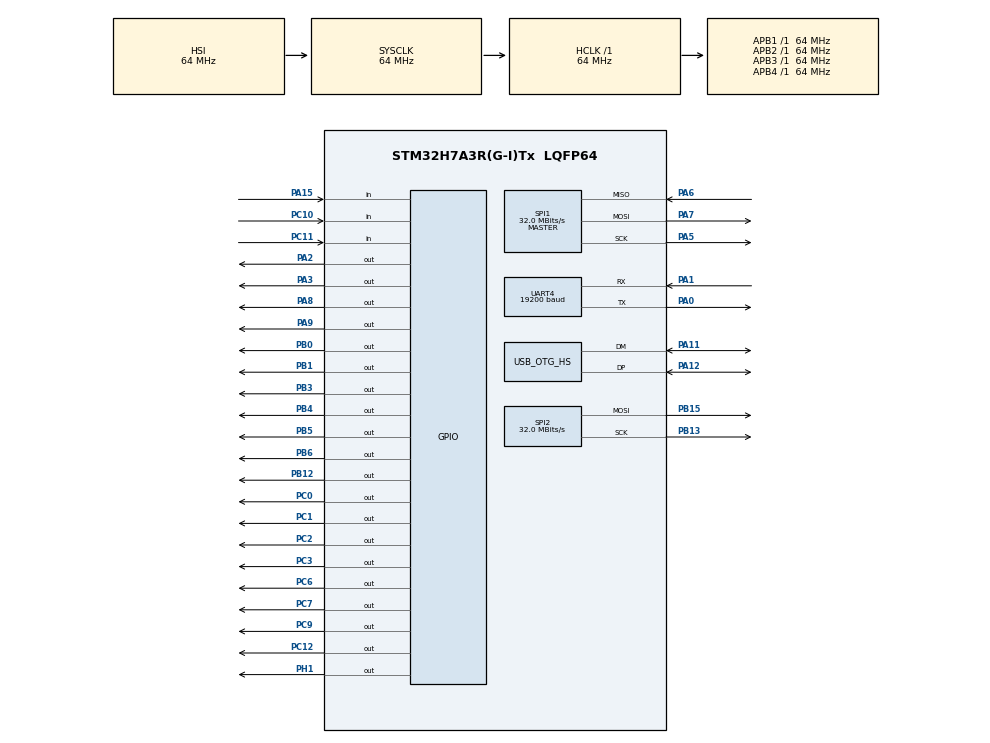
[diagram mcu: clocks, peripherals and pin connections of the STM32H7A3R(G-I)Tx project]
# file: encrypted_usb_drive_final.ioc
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CORTEX_M7.default_mode_Activation=1
Mcu.Family=STM32H7
Mcu.Name=STM32H7A3R(G-I)Tx
Mcu.Package=LQFP64
NVIC.OTG_HS_IRQn=true\:0\:0\:false\:false\:true\:false\:true\:true
NVIC.PriorityGroup=NVIC_PRIORITYGROUP_4
NVIC.TIM7_IRQn=true\:0\:0\:false\:false\:true\:true\:true\:true
PA0.Mode=Asynchronous
PA0.Signal=UART4_TX
PA1.Mode=Asynchronous
PA1.Signal=UART4_RX
PA11.Mode=Device_Only_FS
PA11.Signal=USB_OTG_HS_DM
PA12.Mode=Device_Only_FS
PA12.Signal=USB_OTG_HS_DP
PA13.Mode=Serial_Wire
PA13.Signal=DEBUG_JTMS-SWDIO
PA14.Mode=Serial_Wire
PA14.Signal=DEBUG_JTCK-SWCLK
PA15.GPIO_PuPd=GPIO_PULLDOWN
PA15.Signal=GPIO_Input
PA2.Signal=GPIO_Output
PA3.Signal=GPIO_Output
PA5.Mode=Full_Duplex_Master
PA5.Signal=SPI1_SCK
PA6.Mode=Full_Duplex_Master
PA6.Signal=SPI1_MISO
PA7.Mode=Full_Duplex_Master
PA7.Signal=SPI1_MOSI
PA8.Signal=GPIO_Output
PA9.Signal=GPIO_Output
PB0.Signal=GPIO_Output
PB1.Signal=GPIO_Output
PB12.Signal=GPIO_Output
PB13.Mode=TX_Only_Simplex_Unidirect_Master
PB13.Signal=SPI2_SCK
PB15.Mode=TX_Only_Simplex_Unidirect_Master
PB15.Signal=SPI2_MOSI
PB3.Signal=GPIO_Output
PB4.Signal=GPIO_Output
PB5.Signal=GPIO_Output
PB6.Signal=GPIO_Output
PC0.Signal=GPIO_Output
PC1.Signal=GPIO_Output
PC10.GPIO_PuPd=GPIO_PULLDOWN
PC10.Signal=GPIO_Input
PC11.GPIO_PuPd=GPIO_PULLDOWN
PC11.Signal=GPIO_Input
PC12.Signal=GPIO_Output
PC2.Signal=GPIO_Output
PC3.Signal=GPIO_Output
PC6.Signal=GPIO_Output
PC7.Signal=GPIO_Output
PC9.Signal=GPIO_Output
PH1-OSC_OUT.Signal=GPIO_Output
ProjectManager.HeapSize=0x200
ProjectManager.StackSize=0x400
ProjectManager.TargetToolchain=STM32CubeIDE
RCC.ADCFreq_Value=129000000
RCC.APB1Freq_Value=64000000
RCC.APB2Freq_Value=64000000
RCC.APB3Freq_Value=64000000
RCC.APB4Freq_Value=64000000
RCC.CortexFreq_Value=64000000
RCC.DIVM1=4
RCC.DIVN1=8
RCC.HCLKFreq_Value=64000000
RCC.HSE_VALUE=24000000
RCC.PLLFRACN=0
RCC.SYSCLKFreq_VALUE=64000000
RCC.USBCLockSelection=RCC_USBCLKSOURCE_HSI48
RCC.USBFreq_Value=48000000
SPI1.CalculateBaudRate=32.0 MBits/s
SPI1.DataSize=SPI_DATASIZE_8BIT
SPI1.Direction=SPI_DIRECTION_2LINES
SPI1.Mode=SPI_MODE_MASTER
SPI1.VirtualType=VM_MASTER
SPI2.CalculateBaudRate=32.0 MBits/s
SPI2.DataSize=SPI_DATASIZE_8BIT
SPI2.Direction=SPI_DIRECTION_2LINES_TXONLY
SPI2.Mode=SPI_MODE_MASTER
SPI2.VirtualType=VM_MASTER
TIM7.Period=19
TIM7.Prescaler=31999
UART4.BaudRate=19200
USB_DEVICE.CLASS_NAME_HS=MSC
USB_DEVICE.MSC_MEDIA_PACKET=2048
USB_DEVICE.VirtualMode=Msc
USB_DEVICE.VirtualModeHS=Msc_HS
USB_OTG_HS.VirtualMode=Device_Only_FS
VP_MEMORYMAP_VS_MEMORYMAP.Mode=CurAppReg
VP_TIM7_VS_ClockSourceINT.Mode=Enable_Timer
VP_USB_DEVICE_VS_USB_DEVICE_MSC_HS.Mode=MSC_HS
board=custom

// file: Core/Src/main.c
/* USER CODE BEGIN Header */
/**
  ******************************************************************************
  * @file           : main.c
  * @brief          : Main program body
  ******************************************************************************
  * @attention
  *
  * Copyright (c) 2025 STMicroelectronics.
  * All rights reserved.
  *
  * This software is licensed under terms that can be found in the LICENSE file
  * in the root directory of this software component.
  * If no LICENSE file comes with this software, it is provided AS-IS.
  *
  ******************************************************************************
  */
/* USER CODE END Header */
#include "main.h"
#include "usb_device.h"
#include "usbd_storage_if.h"
#include "usbd_core.h"

/* USER CODE BEGIN Includes */
#include "keypad.h"
#include "lcd.h"
#include "fingerprint_sensor.h"
#include "flash.h"
/* USER CODE END Includes */

SPI_HandleTypeDef hspi1;
SPI_HandleTypeDef hspi2;

TIM_HandleTypeDef htim7;

UART_HandleTypeDef huart4;

/* USER CODE BEGIN PV */
//(update with LCD)

//FLASH GPIOs
const IC_Pin FLASH_P_HOLD_ONE = (IC_Pin){.pin_letter = GPIOC, .pin_num = GPIO_PIN_6};
const IC_Pin FLASH_P_HOLD_TWO = (IC_Pin){.pin_letter = GPIOA, .pin_num = GPIO_PIN_2};
const IC_Pin FLASH_P_HOLD_THREE = (IC_Pin){.pin_letter = GPIOC, .pin_num = GPIO_PIN_1};
const IC_Pin FLASH_P_HOLD_FOUR = (IC_Pin){.pin_letter = GPIOB, .pin_num = GPIO_PIN_6};
const IC_Pin FLASH_P_CS_ONE = (IC_Pin){.pin_letter = GPIOC, .pin_num = GPIO_PIN_9};
const IC_Pin FLASH_P_CS_TWO = (IC_Pin){.pin_letter = GPIOB, .pin_num = GPIO_PIN_1};
const IC_Pin FLASH_P_CS_THREE = (IC_Pin){.pin_letter = GPIOC, .pin_num = GPIO_PIN_3};
const IC_Pin FLASH_P_CS_FOUR = (IC_Pin){.pin_letter = GPIOH, .pin_num = GPIO_PIN_1};
const IC_Pin FLASH_P_WP_ONE = (IC_Pin){.pin_letter = GPIOC, .pin_num = GPIO_PIN_7};
const IC_Pin FLASH_P_WP_TWO = (IC_Pin){.pin_letter = GPIOB, .pin_num = GPIO_PIN_0};
const IC_Pin FLASH_P_WP_THREE = (IC_Pin){.pin_letter = GPIOC, .pin_num = GPIO_PIN_2};
const IC_Pin FLASH_P_WP_FOUR = (IC_Pin){.pin_letter = GPIOC, .pin_num = GPIO_PIN_0};

//KEYPAD GPIOs
const IC_Pin KEY_P_C_ONE = (IC_Pin){.pin_letter = GPIOA, .pin_num = GPIO_PIN_15};
const IC_Pin KEY_P_C_TWO = (IC_Pin){.pin_letter = GPIOC, .pin_num = GPIO_PIN_10};
const IC_Pin KEY_P_C_THREE = (IC_Pin){.pin_letter = GPIOC, .pin_num = GPIO_PIN_11};
const IC_Pin KEY_P_R_ONE = (IC_Pin){.pin_letter = GPIOC, .pin_num = GPIO_PIN_12};
const IC_Pin KEY_P_R_TWO = (IC_Pin){.pin_letter = GPIOB, .pin_num = GPIO_PIN_3};
const IC_Pin KEY_P_R_THREE = (IC_Pin){.pin_letter = GPIOB, .pin_num = GPIO_PIN_4};
const IC_Pin KEY_P_R_FOUR = (IC_Pin){.pin_letter = GPIOB, .pin_num = GPIO_PIN_5};

//LCD GPIOs
const IC_Pin LCD_P_CS = (IC_Pin){.pin_letter = GPIOB, .pin_num = GPIO_PIN_12};

//DEBUG GPIOs
const IC_Pin DEBUG_P_NINE = (IC_Pin){.pin_letter = GPIOA, .pin_num = GPIO_PIN_9};
const IC_Pin DEBUG_P_EIGHT = (IC_Pin){.pin_letter = GPIOA, .pin_num = GPIO_PIN_8};

/* USER CODE END PV */

// STATES
enum State {
	USERSEL,
	RECVPASS,
	PASSWORD,
	FINGERPRINT,
	UNLOCKED,
	CHGPRINT,
	CHGPIN,
	LOCKING
};

struct User {
	int user_id;
	uint8_t password[4];
};

void SystemClock_Config(void);
static void MPU_Config(void);
static void MX_GPIO_Init(void);
static void MX_UART4_Init(void);
static void MX_SPI1_Init(void);
static void MX_SPI2_Init(void);
static void MX_TIM7_Init(void);

/* USER CODE BEGIN 0 */
const struct User default_users[4] = {
		(struct User){.user_id = 1, .password = {0, 0, 0, 0}},
		(struct User){.user_id = 2, .password = {0, 0, 0, 0}},
		(struct User){.user_id = 3, .password = {0, 0, 0, 0}},
		(struct User){.user_id = 4, .password = {0, 0, 0, 0}}
};

struct User users[4];

enum State state;
/* USER CODE END 0 */

int main(void)
{

  /* MPU Configuration--------------------------------------------------------*/
  MPU_Config();

  /* MCU Configuration--------------------------------------------------------*/

  /* Reset of all peripherals, Initializes the Flash interface and the Systick. */
  HAL_Init();

  /* Configure the system clock */
  SystemClock_Config();

  /* USER CODE BEGIN SysInit */
  MX_GPIO_Init();
  MX_SPI1_Init();
  uint8_t value;
  Init_Pin();
  flash_init(&hspi1);
  for (int i = 1; i <= 4; i++) {
	  set_flash_chip_num(i);
	  flash_read_status_register(1, &value);
	  flash_write_status_register(1, value & 0b10000111);
	  flash_read_status_register(2, &value);
	  flash_write_status_register(2, value & 0b11110111);
  }

  /* USER CODE END SysInit */

  /* Initialize all configured peripherals */
  MX_UART4_Init();
  MX_SPI2_Init();
  MX_USB_DEVICE_Init();
  MX_TIM7_Init();
  /* USER CODE BEGIN 2 */
  HAL_TIM_Base_Start_IT(&htim7);
  /* USER CODE END 2 */

  /* Infinite loop */
  /* USER CODE BEGIN WHILE */

//  enum State state = UNLOCKED;

  switch_to_usersel();

  load_users_from_flash();

//  struct User users[4] = {user_1, user_2, user_3, user_4};

//  struct User* selected_user = NULL;
//  struct User* selected_user = &user_1;
  struct User* selected_user = &users[0];

  while (1)
  {
    /* USER CODE END WHILE */

    /* USER CODE BEGIN 3 */
	  switch (state) {
          case USERSEL: {
              if (is_key_pressed(0, 0, 1)) { // 1
                  selected_user = &users[0];
                  switch_to_recvpass();
              } else if (is_key_pressed(0, 1, 1)) { // 2
                  selected_user = &users[1];
                  switch_to_recvpass();
              } else if (is_key_pressed(0, 2, 1)) { // 3
                  selected_user = &users[2];
                  switch_to_recvpass();
              } else if (is_key_pressed(1, 0, 1)) { // 4
                  selected_user = &users[3];
                  switch_to_recvpass();
              }
              break;
          }

          case RECVPASS: {
              if (is_key_pressed(3, 1, 1)) { // 0 held for 4 sec
                  switch_to_usersel();
              }
              else if (is_key_pressed(3, 0, 1)) { // star - SELECTED PASSWORD
            	  switch_to_password();
              }
              else if (is_key_pressed(3, 2, 1)) { // pound - SELECTED FINGERPRINT
            	  switch_to_fingerprint();
              }
              break;
          }

          case PASSWORD: {
              int success = 1;
              int count = 0;
              while (count < 4) {
                  char key = '\0';
                  for (int i = 0; i < NUM_ROWS; i++) {
                	  for (int j = 0; j < NUM_COLS; j++) {
                		  if (is_key_pressed(i, j, 5)) {
                			  key = key_to_char(i, j);
                			  Write_Pin(LCD_P_CS, 0);
                			lcd_print(&hspi2, (uint8_t*)"*");
                			  Write_Pin(LCD_P_CS, 1);

                		  }
                	  }
                  }
                  // await key press
                  if (key != '\0' && key != '*' && key != '#') {
                	  if (key != selected_user->password[count] + '0') {
                		  success = 0;
                	  }
                	  count++;
                  }
              }
              if (success) {
            	  // TODO: COPY FLASH DATA TO BUFFER HERE
            	  set_flash_chip_num(selected_user->user_id);
            	  flash_read(buffer, 0, 64);

            	  if (USBD_Start(&hUsbDeviceHS) != USBD_OK)
            	  {
            	      Error_Handler();
            	  }

            	  switch_to_unlocked();
              }
              else {
                  Write_Pin(LCD_P_CS, 0);
                  lcd_clear(&hspi2);
                  lcd_cursor_location(&hspi2, 0x00); // first row of LCD
                  lcd_print(&hspi2, (uint8_t*)"INCORRECT");
                  lcd_cursor_location(&hspi2, 0x40);
                  lcd_print(&hspi2, (uint8_t*)"PASSWORD");
                  Write_Pin(LCD_P_CS, 1);
                  HAL_Delay(2000);

                  switch_to_recvpass();
              }
              break;
          }

          case FINGERPRINT: {
              // send fingerprint match request
              uint8_t ack_type = 9;
              compare_1_1(selected_user->user_id, &ack_type);
              if (ack_type == ACK_SUCCESS) {
            	  // TODO: COPY FLASH DATA TO BUFFER HERE
            	  set_flash_chip_num(selected_user->user_id);
            	  flash_read(buffer, 0, 64);
                  if (USBD_Start(&hUsbDeviceHS) != USBD_OK)
                  {
                	  Error_Handler();
                  }

                  switch_to_unlocked();
              }
              else {
                  Write_Pin(LCD_P_CS, 0);
                  lcd_clear(&hspi2);
                  lcd_cursor_location(&hspi2, 0x00); // first row of LCD
                  lcd_print(&hspi2, (uint8_t*)"INCORRECT");
                  lcd_cursor_location(&hspi2, 0x40);
                  lcd_print(&hspi2, (uint8_t*)"PRINT");
                  Write_Pin(LCD_P_CS, 1);
                  HAL_Delay(2000);

                  switch_to_recvpass();
              }
              break;
          }

          case UNLOCKED: {
              if (is_key_pressed(3, 1, 1)) { // 0 pressed
		          switch_to_chgprint();
		      }
		      else if (is_key_pressed(3, 0, 1)) { // * pressed
		          switch_to_chgpin();
		      }
		      else if (is_key_pressed(3, 2, 1)) { // # pressed
		    	  switch_to_locking();
		      }
              break;
          }

          case CHGPRINT: {
		      // ask user for print on fingerprint sensor
		      uint8_t ack_type = 9;
		      delete_specified_user(selected_user->user_id, &ack_type);
		      for (int i = 1; i <= 3; i++) {
		          add_fingerprint(i, selected_user->user_id, 1, &ack_type);
		          if (ack_type != ACK_SUCCESS && ack_type != ACK_NOUSER) {
		        	  Write_Pin(LCD_P_CS, 0);
		        	  lcd_clear(&hspi2);
		        	  lcd_cursor_location(&hspi2, 0x00); // first row of LCD
		        	  lcd_print(&hspi2, (uint8_t*)"BAD READING");
		        	  lcd_cursor_location(&hspi2, 0x40);
		        	  lcd_print(&hspi2, (uint8_t*)"ABORTING");
		        	  Write_Pin(LCD_P_CS, 1);
		        	  HAL_Delay(2000);
		        	  break;
		          }
		      }

		     switch_to_unlocked();
		      break;
          }

          case CHGPIN: {
		      int success = 1;
		      int count = 0;
		      int new_password[4];
		      while (count < 4) {
		          char key = '\0';
		          for (int i = 0; i < NUM_ROWS; i++) {
		        	  for (int j = 0; j < NUM_COLS; j++) {
		        		  if (is_key_pressed(i, j, 1)) {
		        			  key = key_to_char(i, j);
		        		  }
		        	  }
		          }
		          // await key press
		          if (key == '#') { // cancel
		        	  success = 0;
		        	  break;
		          }

		          if (key != '\0') { // password entering
		        	  new_password[count] = key - '0';
		        	  count++;
		          }
		      }

		      // Change the password if it's good
		      if (success) {
		          for (int i = 0; i < 4; i++) {
		        	  selected_user->password[i] = new_password[i];
		        	  users[(selected_user->user_id) - 1].password[i] = new_password[i];
		          }
//		          memcpy(users[(selected_user->user_id) - 1].password, new_password, 4);
		          save_users_to_flash();
		      }

		      switch_to_unlocked();
		      break;
          }

          case LOCKING: {
              if (is_key_pressed(3, 2, 1)) { // # pressed
            	  // TODO: copy and paste buffer to flash IC
            	  set_flash_chip_num(selected_user->user_id);
            	  flash_write(buffer, 0, 64);
            	  if (USBD_Stop(&hUsbDeviceHS) != USBD_OK) {
            	      Error_Handler();
            	  }
		          switch_to_usersel();
		      } else if (is_key_pressed(3, 0, 1)) { // * pressed
		          switch_to_unlocked();
		      }
              break;
          }
	  }
  }
  /* USER CODE END 3 */
}

void SystemClock_Config(void)
{
  RCC_OscInitTypeDef RCC_OscInitStruct = {0};
  RCC_ClkInitTypeDef RCC_ClkInitStruct = {0};

  /*AXI clock gating */
  RCC->CKGAENR = 0xFFFFFFFF;

  /** Supply configuration update enable
  */
  HAL_PWREx_ConfigSupply(PWR_LDO_SUPPLY);

  /** Configure the main internal regulator output voltage
  */
  __HAL_PWR_VOLTAGESCALING_CONFIG(PWR_REGULATOR_VOLTAGE_SCALE3);

  while(!__HAL_PWR_GET_FLAG(PWR_FLAG_VOSRDY)) {}

  /** Initializes the RCC Oscillators according to the specified parameters
  * in the RCC_OscInitTypeDef structure.
  */
  RCC_OscInitStruct.OscillatorType = RCC_OSCILLATORTYPE_HSI48|RCC_OSCILLATORTYPE_HSI;
  RCC_OscInitStruct.HSIState = RCC_HSI_DIV1;
  RCC_OscInitStruct.HSICalibrationValue = 64;
  RCC_OscInitStruct.HSI48State = RCC_HSI48_ON;
  RCC_OscInitStruct.PLL.PLLState = RCC_PLL_ON;
  RCC_OscInitStruct.PLL.PLLSource = RCC_PLLSOURCE_HSI;
  RCC_OscInitStruct.PLL.PLLM = 4;
  RCC_OscInitStruct.PLL.PLLN = 8;
  RCC_OscInitStruct.PLL.PLLP = 2;
  RCC_OscInitStruct.PLL.PLLQ = 2;
  RCC_OscInitStruct.PLL.PLLR = 2;
  RCC_OscInitStruct.PLL.PLLRGE = RCC_PLL1VCIRANGE_3;
  RCC_OscInitStruct.PLL.PLLVCOSEL = RCC_PLL1VCOWIDE;
  RCC_OscInitStruct.PLL.PLLFRACN = 0;
  if (HAL_RCC_OscConfig(&RCC_OscInitStruct) != HAL_OK)
  {
    Error_Handler();
  }

  /** Initializes the CPU, AHB and APB buses clocks
  */
  RCC_ClkInitStruct.ClockType = RCC_CLOCKTYPE_HCLK|RCC_CLOCKTYPE_SYSCLK
                              |RCC_CLOCKTYPE_PCLK1|RCC_CLOCKTYPE_PCLK2
                              |RCC_CLOCKTYPE_D3PCLK1|RCC_CLOCKTYPE_D1PCLK1;
  RCC_ClkInitStruct.SYSCLKSource = RCC_SYSCLKSOURCE_HSI;
  RCC_ClkInitStruct.SYSCLKDivider = RCC_SYSCLK_DIV1;
  RCC_ClkInitStruct.AHBCLKDivider = RCC_HCLK_DIV1;
  RCC_ClkInitStruct.APB3CLKDivider = RCC_APB3_DIV1;
  RCC_ClkInitStruct.APB1CLKDivider = RCC_APB1_DIV1;
  RCC_ClkInitStruct.APB2CLKDivider = RCC_APB2_DIV1;
  RCC_ClkInitStruct.APB4CLKDivider = RCC_APB4_DIV1;

  if (HAL_RCC_ClockConfig(&RCC_ClkInitStruct, FLASH_LATENCY_2) != HAL_OK)
  {
    Error_Handler();
  }
}

static void MX_SPI1_Init(void)
{

  /* SPI1 parameter configuration*/
  hspi1.Instance = SPI1;
  hspi1.Init.Mode = SPI_MODE_MASTER;
  hspi1.Init.Direction = SPI_DIRECTION_2LINES;
  hspi1.Init.DataSize = SPI_DATASIZE_8BIT;
  hspi1.Init.CLKPolarity = SPI_POLARITY_LOW;
  hspi1.Init.CLKPhase = SPI_PHASE_1EDGE;
  hspi1.Init.NSS = SPI_NSS_SOFT;
  hspi1.Init.BaudRatePrescaler = SPI_BAUDRATEPRESCALER_2;
  hspi1.Init.FirstBit = SPI_FIRSTBIT_MSB;
  hspi1.Init.TIMode = SPI_TIMODE_DISABLE;
  hspi1.Init.CRCCalculation = SPI_CRCCALCULATION_DISABLE;
  hspi1.Init.CRCPolynomial = 0x0;
  hspi1.Init.NSSPMode = SPI_NSS_PULSE_ENABLE;
  hspi1.Init.NSSPolarity = SPI_NSS_POLARITY_LOW;
  hspi1.Init.FifoThreshold = SPI_FIFO_THRESHOLD_01DATA;
  hspi1.Init.TxCRCInitializationPattern = SPI_CRC_INITIALIZATION_ALL_ZERO_PATTERN;
  hspi1.Init.RxCRCInitializationPattern = SPI_CRC_INITIALIZATION_ALL_ZERO_PATTERN;
  hspi1.Init.MasterSSIdleness = SPI_MASTER_SS_IDLENESS_00CYCLE;
  hspi1.Init.MasterInterDataIdleness = SPI_MASTER_INTERDATA_IDLENESS_00CYCLE;
  hspi1.Init.MasterReceiverAutoSusp = SPI_MASTER_RX_AUTOSUSP_DISABLE;
  hspi1.Init.MasterKeepIOState = SPI_MASTER_KEEP_IO_STATE_DISABLE;
  hspi1.Init.IOSwap = SPI_IO_SWAP_DISABLE;
  if (HAL_SPI_Init(&hspi1) != HAL_OK)
  {
    Error_Handler();
  }

}

static void MX_SPI2_Init(void)
{

  /* SPI2 parameter configuration*/
  hspi2.Instance = SPI2;
  hspi2.Init.Mode = SPI_MODE_MASTER;
  hspi2.Init.Direction = SPI_DIRECTION_2LINES_TXONLY;
  hspi2.Init.DataSize = SPI_DATASIZE_8BIT;
  hspi2.Init.CLKPolarity = SPI_POLARITY_LOW;
  hspi2.Init.CLKPhase = SPI_PHASE_1EDGE;
  hspi2.Init.NSS = SPI_NSS_SOFT;
  hspi2.Init.BaudRatePrescaler = SPI_BAUDRATEPRESCALER_2;
  hspi2.Init.FirstBit = SPI_FIRSTBIT_MSB;
  hspi2.Init.TIMode = SPI_TIMODE_DISABLE;
  hspi2.Init.CRCCalculation = SPI_CRCCALCULATION_DISABLE;
  hspi2.Init.CRCPolynomial = 0x0;
  hspi2.Init.NSSPMode = SPI_NSS_PULSE_ENABLE;
  hspi2.Init.NSSPolarity = SPI_NSS_POLARITY_LOW;
  hspi2.Init.FifoThreshold = SPI_FIFO_THRESHOLD_01DATA;
  hspi2.Init.TxCRCInitializationPattern = SPI_CRC_INITIALIZATION_ALL_ZERO_PATTERN;
  hspi2.Init.RxCRCInitializationPattern = SPI_CRC_INITIALIZATION_ALL_ZERO_PATTERN;
  hspi2.Init.MasterSSIdleness = SPI_MASTER_SS_IDLENESS_00CYCLE;
  hspi2.Init.MasterInterDataIdleness = SPI_MASTER_INTERDATA_IDLENESS_00CYCLE;
  hspi2.Init.MasterReceiverAutoSusp = SPI_MASTER_RX_AUTOSUSP_DISABLE;
  hspi2.Init.MasterKeepIOState = SPI_MASTER_KEEP_IO_STATE_DISABLE;
  hspi2.Init.IOSwap = SPI_IO_SWAP_DISABLE;
  if (HAL_SPI_Init(&hspi2) != HAL_OK)
  {
    Error_Handler();
  }

}

static void MX_TIM7_Init(void)
{

  TIM_MasterConfigTypeDef sMasterConfig = {0};

  htim7.Instance = TIM7;
  htim7.Init.Prescaler = 31999;
  htim7.Init.CounterMode = TIM_COUNTERMODE_UP;
  htim7.Init.Period = 1;
  htim7.Init.AutoReloadPreload = TIM_AUTORELOAD_PRELOAD_DISABLE;
  if (HAL_TIM_Base_Init(&htim7) != HAL_OK)
  {
    Error_Handler();
  }
  sMasterConfig.MasterOutputTrigger = TIM_TRGO_RESET;
  sMasterConfig.MasterSlaveMode = TIM_MASTERSLAVEMODE_DISABLE;
  if (HAL_TIMEx_MasterConfigSynchronization(&htim7, &sMasterConfig) != HAL_OK)
  {
    Error_Handler();
  }

}

static void MX_UART4_Init(void)
{

  huart4.Instance = UART4;
  huart4.Init.BaudRate = 19200;
  huart4.Init.WordLength = UART_WORDLENGTH_8B;
  huart4.Init.StopBits = UART_STOPBITS_1;
  huart4.Init.Parity = UART_PARITY_NONE;
  huart4.Init.Mode = UART_MODE_TX_RX;
  huart4.Init.HwFlowCtl = UART_HWCONTROL_NONE;
  huart4.Init.OverSampling = UART_OVERSAMPLING_16;
  huart4.Init.OneBitSampling = UART_ONE_BIT_SAMPLE_DISABLE;
  huart4.Init.ClockPrescaler = UART_PRESCALER_DIV1;
  huart4.AdvancedInit.AdvFeatureInit = UART_ADVFEATURE_NO_INIT;
  if (HAL_UART_Init(&huart4) != HAL_OK)
  {
    Error_Handler();
  }
  if (HAL_UARTEx_SetTxFifoThreshold(&huart4, UART_TXFIFO_THRESHOLD_1_8) != HAL_OK)
  {
    Error_Handler();
  }
  if (HAL_UARTEx_SetRxFifoThreshold(&huart4, UART_RXFIFO_THRESHOLD_1_8) != HAL_OK)
  {
    Error_Handler();
  }
  if (HAL_UARTEx_DisableFifoMode(&huart4) != HAL_OK)
  {
    Error_Handler();
  }

}

static void MX_GPIO_Init(void)
{
  GPIO_InitTypeDef GPIO_InitStruct = {0};

  /* GPIO Ports Clock Enable */
  __HAL_RCC_GPIOH_CLK_ENABLE();
  __HAL_RCC_GPIOC_CLK_ENABLE();
  __HAL_RCC_GPIOA_CLK_ENABLE();
  __HAL_RCC_GPIOB_CLK_ENABLE();

  /*Configure GPIO pin Output Level */
  HAL_GPIO_WritePin(GPIOH, GPIO_PIN_1, GPIO_PIN_RESET);

  /*Configure GPIO pin Output Level */
  HAL_GPIO_WritePin(GPIOC, GPIO_PIN_0|GPIO_PIN_1|GPIO_PIN_2|GPIO_PIN_3
                          |GPIO_PIN_6|GPIO_PIN_7|GPIO_PIN_9|GPIO_PIN_12, GPIO_PIN_RESET);

  /*Configure GPIO pin Output Level */
  HAL_GPIO_WritePin(GPIOA, GPIO_PIN_2|GPIO_PIN_3|GPIO_PIN_8|GPIO_PIN_9, GPIO_PIN_RESET);

  /*Configure GPIO pin Output Level */
  HAL_GPIO_WritePin(GPIOB, GPIO_PIN_0|GPIO_PIN_1|GPIO_PIN_12|GPIO_PIN_3
                          |GPIO_PIN_4|GPIO_PIN_5|GPIO_PIN_6, GPIO_PIN_RESET);

  /*Configure GPIO pin : PH1 */
  GPIO_InitStruct.Pin = GPIO_PIN_1;
  GPIO_InitStruct.Mode = GPIO_MODE_OUTPUT_PP;
  GPIO_InitStruct.Pull = GPIO_NOPULL;
  GPIO_InitStruct.Speed = GPIO_SPEED_FREQ_LOW;
  HAL_GPIO_Init(GPIOH, &GPIO_InitStruct);

  /*Configure GPIO pins : PC0 PC1 PC2 PC3
                           PC6 PC7 PC9 PC12 */
  GPIO_InitStruct.Pin = GPIO_PIN_0|GPIO_PIN_1|GPIO_PIN_2|GPIO_PIN_3
                          |GPIO_PIN_6|GPIO_PIN_7|GPIO_PIN_9|GPIO_PIN_12;
  GPIO_InitStruct.Mode = GPIO_MODE_OUTPUT_PP;
  GPIO_InitStruct.Pull = GPIO_NOPULL;
  GPIO_InitStruct.Speed = GPIO_SPEED_FREQ_LOW;
  HAL_GPIO_Init(GPIOC, &GPIO_InitStruct);

  /*Configure GPIO pins : PA2 PA3 PA8 PA9 */
  GPIO_InitStruct.Pin = GPIO_PIN_2|GPIO_PIN_3|GPIO_PIN_8|GPIO_PIN_9;
  GPIO_InitStruct.Mode = GPIO_MODE_OUTPUT_PP;
  GPIO_InitStruct.Pull = GPIO_NOPULL;
  GPIO_InitStruct.Speed = GPIO_SPEED_FREQ_LOW;
  HAL_GPIO_Init(GPIOA, &GPIO_InitStruct);

  /*Configure GPIO pins : PB0 PB1 PB12 PB3
                           PB4 PB5 PB6 */
  GPIO_InitStruct.Pin = GPIO_PIN_0|GPIO_PIN_1|GPIO_PIN_12|GPIO_PIN_3
                          |GPIO_PIN_4|GPIO_PIN_5|GPIO_PIN_6;
  GPIO_InitStruct.Mode = GPIO_MODE_OUTPUT_PP;
  GPIO_InitStruct.Pull = GPIO_NOPULL;
  GPIO_InitStruct.Speed = GPIO_SPEED_FREQ_LOW;
  HAL_GPIO_Init(GPIOB, &GPIO_InitStruct);

  /*Configure GPIO pin : PA15 */
  GPIO_InitStruct.Pin = GPIO_PIN_15;
  GPIO_InitStruct.Mode = GPIO_MODE_INPUT;
  GPIO_InitStruct.Pull = GPIO_PULLDOWN;
  HAL_GPIO_Init(GPIOA, &GPIO_InitStruct);

  /*Configure GPIO pins : PC10 PC11 */
  GPIO_InitStruct.Pin = GPIO_PIN_10|GPIO_PIN_11;
  GPIO_InitStruct.Mode = GPIO_MODE_INPUT;
  GPIO_InitStruct.Pull = GPIO_PULLDOWN;
  HAL_GPIO_Init(GPIOC, &GPIO_InitStruct);

}

/* USER CODE BEGIN 4 */
//Easy Write pin with the ic_pin type

#define USER_SECTOR_ADDR 0X0817E000
#define USER_SECTOR_NUM  63

void load_users_from_flash(void) {
	// read user0 and user1
	memcpy(&users[0], (void*)USER_SECTOR_ADDR, 16);

	// read user2 and user3
	memcpy(&users[2], (void*)(USER_SECTOR_ADDR + 16), 16);
    if (users[0].user_id != 1 || users[1].user_id != 2 || users[2].user_id != 3  || users[3].user_id != 4) {
        memcpy(users, default_users, sizeof(users));
    }
}

void save_users_to_flash(void) {
    HAL_FLASH_Unlock();

    // erase the sector before writing
    FLASH_EraseInitTypeDef eraseInit;
    eraseInit.TypeErase    = FLASH_TYPEERASE_SECTORS;
    eraseInit.Banks        = FLASH_BANK_2;
    eraseInit.Sector       = USER_SECTOR_NUM;
    eraseInit.NbSectors    = 1;
    uint32_t sectorError = 0;
    HAL_FLASHEx_Erase(&eraseInit, &sectorError);

    uint8_t temp1[16] __attribute__((aligned(16)));
    memset(temp1, 0xFF, 16);
    memcpy(temp1, &users[0], 16); // users[0] and users[1]
    HAL_FLASH_Program(
        FLASH_TYPEPROGRAM_FLASHWORD,
        USER_SECTOR_ADDR,
        (uint32_t)temp1
    );

    uint8_t temp2[16] __attribute__((aligned(16)));
    memset(temp2, 0xFF, 16);
    memcpy(temp2, &users[2], 16); // users[2] and users[3]
    HAL_FLASH_Program(
        FLASH_TYPEPROGRAM_FLASHWORD,
        USER_SECTOR_ADDR + 16,
        (uint32_t)temp2
    );

    HAL_FLASH_Lock();
}

void switch_to_usersel() {
	state = USERSEL;

	Write_Pin(LCD_P_CS, 0);
	lcd_on(&hspi2); // this line
	lcd_light(&hspi2, 0x8); // and this line might only be needed on power up
	lcd_clear(&hspi2);
	lcd_cursor_location(&hspi2, 0x00); // 1st row LCD
	lcd_print(&hspi2, (uint8_t*)"Select User ID");
	lcd_cursor_location(&hspi2, 0x40); // second row of LCD
	lcd_print(&hspi2, (uint8_t*)"1 2 3 4");
	Write_Pin(LCD_P_CS, 1);
}

void switch_to_recvpass() {
	state = RECVPASS;

	Write_Pin(LCD_P_CS, 0);
	lcd_clear(&hspi2);
	lcd_cursor_location(&hspi2, 0x00); // first row of LCD
	lcd_print(&hspi2, (uint8_t*)"SELECT 1 CHOICE");
	lcd_cursor_location(&hspi2, 0x40);
	lcd_print(&hspi2, (uint8_t*)"FP # PASS * BK 0");
	Write_Pin(LCD_P_CS, 1);
}

void switch_to_password() {
	state = PASSWORD;

	Write_Pin(LCD_P_CS, 0);
	lcd_clear(&hspi2);
	lcd_cursor_location(&hspi2, 0x00); // first row of LCD
	lcd_print(&hspi2, (uint8_t*)"ENTER PASSWORD");
	lcd_cursor_location(&hspi2, 0x40);
    Write_Pin(LCD_P_CS, 1);
}

void switch_to_fingerprint() {
	state = FINGERPRINT;

	Write_Pin(LCD_P_CS, 0);
	lcd_clear(&hspi2);
	lcd_cursor_location(&hspi2, 0x00); // first row of LCD
	lcd_print(&hspi2, (uint8_t*)"ENTER FP");
	Write_Pin(LCD_P_CS, 1);
}

void switch_to_unlocked() {
	state = UNLOCKED;

	Write_Pin(LCD_P_CS, 0);
	lcd_clear(&hspi2);
	lcd_cursor_location(&hspi2, 0x00); // first row of LCD
	lcd_print(&hspi2, (uint8_t*)"UNLOCKED");
	lcd_cursor_location(&hspi2, 0x40);
	lcd_print(&hspi2, (uint8_t*)"FP 0 PASS * LK #");
	Write_Pin(LCD_P_CS, 1);
}

void switch_to_chgprint() {
	state = CHGPRINT;

	Write_Pin(LCD_P_CS, 0);
	lcd_clear(&hspi2);
	lcd_cursor_location(&hspi2, 0x00); // first row of LCD
	lcd_print(&hspi2, (uint8_t*)"ENTER PRINT");
	Write_Pin(LCD_P_CS, 1);
//	HAL_Delay(2000);
}

void switch_to_chgpin() {
	state = CHGPIN;

	Write_Pin(LCD_P_CS, 0);
	lcd_clear(&hspi2);
	lcd_cursor_location(&hspi2, 0x00); // first row of LCD
	lcd_print(&hspi2, (uint8_t*)"ENTER PASS");
	lcd_cursor_location(&hspi2, 0x40);
	lcd_print(&hspi2, (uint8_t*)"OR # TO CANCEL");
	Write_Pin(LCD_P_CS, 1);
}

void switch_to_locking() {
	state = LOCKING;

	Write_Pin(LCD_P_CS, 0);
	lcd_clear(&hspi2);
	lcd_cursor_location(&hspi2, 0x00); // first row of LCD
	lcd_print(&hspi2, (uint8_t*)"LOCK & SAVE?");
	lcd_cursor_location(&hspi2, 0x40);
	lcd_print(&hspi2, (uint8_t*)"Y:# N:*");
	Write_Pin(LCD_P_CS, 1);
}

void Write_Pin(IC_Pin pin, int value)
{
	if (value == 0) {
		HAL_GPIO_WritePin(pin.pin_letter, pin.pin_num, GPIO_PIN_RESET);
	}
	else {
		HAL_GPIO_WritePin(pin.pin_letter, pin.pin_num, GPIO_PIN_SET);
	}

}

int Read_Pin(IC_Pin pin)
{
	GPIO_PinState value = HAL_GPIO_ReadPin(pin.pin_letter, pin.pin_num);

	if (value == GPIO_PIN_SET){
		return 1;
	}
	return 0;
}

//Initialize pins to "default value" (update with LCD)
void Init_Pin() {
	Write_Pin(FLASH_P_WP_ONE, 1);
	Write_Pin(FLASH_P_WP_TWO, 1);
	Write_Pin(FLASH_P_WP_THREE, 1);
	Write_Pin(FLASH_P_WP_FOUR, 1);
	Write_Pin(FLASH_P_CS_ONE, 1);
	Write_Pin(FLASH_P_CS_TWO, 1);
	Write_Pin(FLASH_P_CS_THREE, 1);
	Write_Pin(FLASH_P_CS_FOUR, 1);
	Write_Pin(FLASH_P_HOLD_ONE, 1);
	Write_Pin(FLASH_P_HOLD_TWO, 1);
	Write_Pin(FLASH_P_HOLD_THREE, 1);
	Write_Pin(FLASH_P_HOLD_FOUR, 1);
	Write_Pin(DEBUG_P_EIGHT, 0);
	Write_Pin(DEBUG_P_NINE, 0);
}
/* USER CODE END 4 */

 /* MPU Configuration */

void MPU_Config(void)
{
  MPU_Region_InitTypeDef MPU_InitStruct = {0};

  /* Disables the MPU */
  HAL_MPU_Disable();

  /** Initializes and configures the Region and the memory to be protected
  */
  MPU_InitStruct.Enable = MPU_REGION_ENABLE;
  MPU_InitStruct.Number = MPU_REGION_NUMBER0;
  MPU_InitStruct.BaseAddress = 0x0;
  MPU_InitStruct.Size = MPU_REGION_SIZE_4GB;
  MPU_InitStruct.SubRegionDisable = 0x87;
  MPU_InitStruct.TypeExtField = MPU_TEX_LEVEL0;
  MPU_InitStruct.AccessPermission = MPU_REGION_NO_ACCESS;
  MPU_InitStruct.DisableExec = MPU_INSTRUCTION_ACCESS_DISABLE;
  MPU_InitStruct.IsShareable = MPU_ACCESS_SHAREABLE;
  MPU_InitStruct.IsCacheable = MPU_ACCESS_NOT_CACHEABLE;
  MPU_InitStruct.IsBufferable = MPU_ACCESS_NOT_BUFFERABLE;

  HAL_MPU_ConfigRegion(&MPU_InitStruct);
  /* Enables the MPU */
  HAL_MPU_Enable(MPU_PRIVILEGED_DEFAULT);

}

void Error_Handler(void)
{
  __disable_irq();
  while (1)
  {
  }
}
